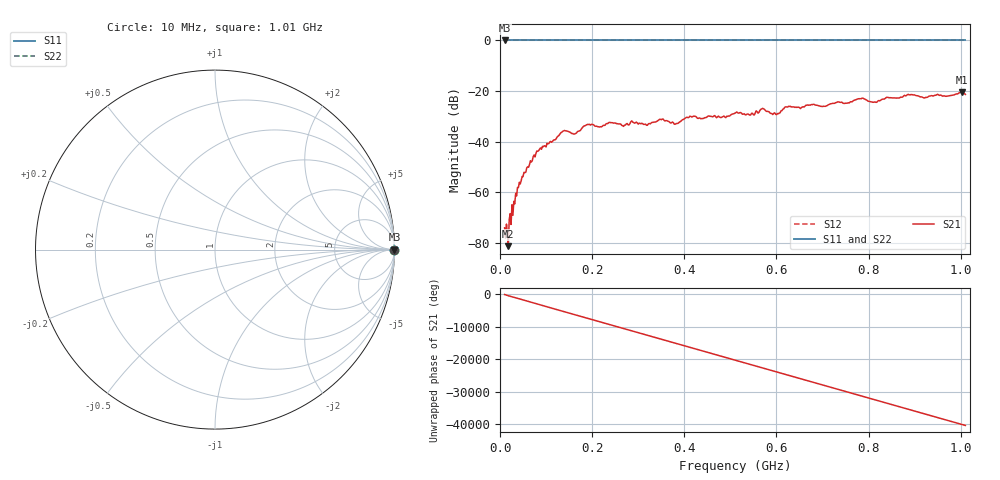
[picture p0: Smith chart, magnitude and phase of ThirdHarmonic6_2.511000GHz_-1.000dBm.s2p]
! 8/17/2025 4:52:59 AM
! C:\ANRITSUVNA\TEMP\TEMP.S2P
! CHANNEL.1
! TR.MEASUREMENT
! RAW.DATA
! RF.CORRECTION.OFF
! AVERAGING.OFF
! IF.BANDWIDTH: 5KHZ
! SWEEPTYPE:  FREQ.SWEEP(Linear)
! Reference Plane Port Info
! PORT:  PORT1  PORT2
! DISTANCE:  0  m  0  m
! TIME:  0  s  0  s
! PHASE.OFFSET:  0  deg.  0  deg.
! LOSS:  0  dB  0  dB
! REF.LOSS:  0  dB  0  dB
! REF.FREQ:  0  Hz  0  Hz
! Power Info
! POWER:  -20  dBm  -20  dBm
! EFF.POWER:  -20  dBm  -20  dBm
! SOURCE.ATTEN:  0  dB  0  dB
! TEST.ATTEN:  0  dB  0  dB
# GHZ S RI R 50.0
! FREQ.GHZ  S11RE  S11IM  S21RE  S21IM  S12RE  S12IM  S22RE  S22IM
!; PortSelection: Port_12
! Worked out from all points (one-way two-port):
!   501 points, 10 MHz to 1.01 GHz, reference 50 ohm
!   highest |S21| = -20.56 dB at 1.002 GHz (marker M1); lowest = -81.3 dB at 18 MHz (marker M2)
!   lowest |S11| = 0.0 dB at 10 MHz (marker M3)
!   |S11| at or under -10 dB: nowhere
!   |S22| runs from 0.0 to 0.0 dB; largest |S21 - S12| = 1.1
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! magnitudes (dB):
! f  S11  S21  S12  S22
! 10 MHz  0.0  -74.1  0.0  0.0
! 14 MHz  0.0  -72.6  0.0  0.0
! 18 MHz  0.0  -81.3  0.0  0.0
! 20 MHz  0.0  -70.8  0.0  0.0
! 38 MHz  0.0  -58.1  0.0  0.0
! 76 MHz  0.0  -46.1  0.0  0.0
! 136 MHz  0.0  -35.9  0.0  0.0
! 162 MHz  0.0  -37.0  0.0  0.0
! 178 MHz  0.0  -34.7  0.0  0.0
! 344 MHz  0.0  -31.5  0.0  0.0
! 382 MHz  0.0  -32.9  0.0  0.0
! 410 MHz  0.0  -30.4  0.0  0.0
! 510 MHz  0.0  -28.7  0.0  0.0
! 548 MHz  0.0  -28.8  0.0  0.0
! 570 MHz  0.0  -26.9  0.0  0.0
! 602 MHz  0.0  -28.9  0.0  0.0
! 622 MHz  0.0  -26.3  0.0  0.0
! 678 MHz  0.0  -25.4  0.0  0.0
! 814 MHz  0.0  -24.3  0.0  0.0
! 844 MHz  0.0  -22.7  0.0  0.0
! 1.002 GHz  0.0  -20.6  0.0  0.0
! 1.01 GHz  0.0  -21.3  0.0  0.0
